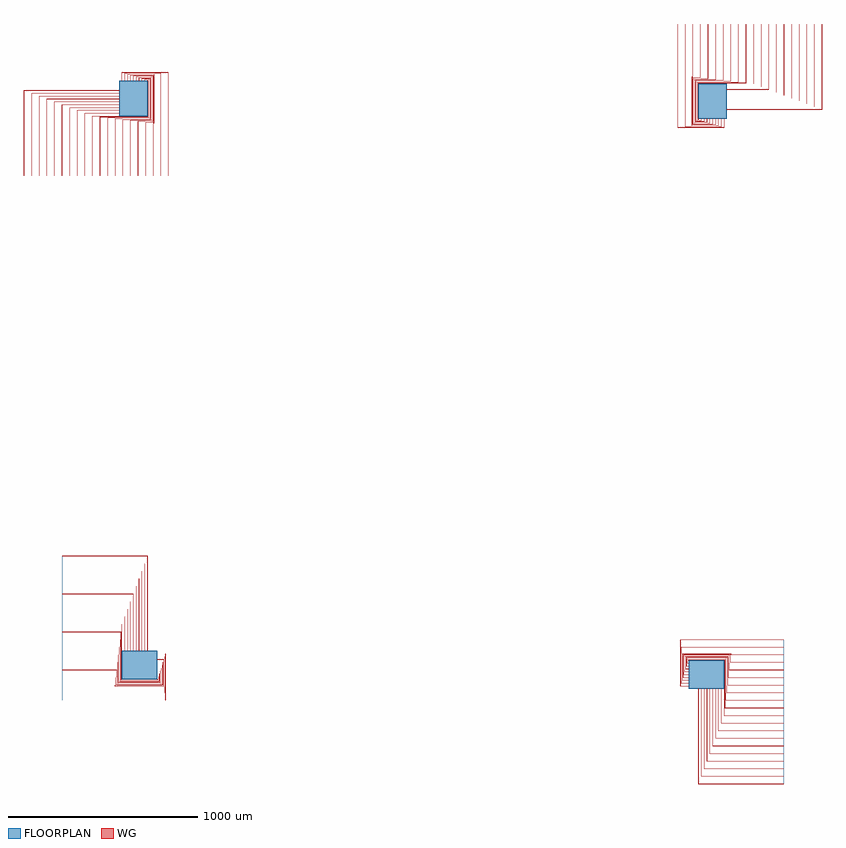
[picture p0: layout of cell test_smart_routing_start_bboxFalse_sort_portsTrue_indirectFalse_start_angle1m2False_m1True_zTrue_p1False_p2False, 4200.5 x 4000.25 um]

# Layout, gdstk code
import gdstk
lib = gdstk.Library(unit=1e-6, precision=1e-09)
def R(c, l, rs):  # rectangles x0, y0, x1, y1
    for r in rs: c.add(gdstk.rectangle(r[:2], r[2:], *l))
def P(c, l, *ps):  # polygons
    for p in ps: c.add(gdstk.Polygon(p, *l))
WG = (1, 0)
FLOORPLAN = (10, 0)

test_smart_routing_start = lib.new_cell('test_smart_routing_start_bboxFalse_sort_portsTrue_indirectFalse_start_angle1m2False_m1True_zTrue_p1False_p2False')
P(test_smart_routing_start, WG, [(-600.25,2600),(-600.25,3050.25),(-100,3050.25),(-100,3049.75),(-599.75,3049.75),(-599.75,2600)],
  [(-560.25,2600),(-560.25,3035.25),(-100,3035.25),(-100,3034.75),(-559.75,3034.75),(-559.75,2600)],
  [(-520.25,2600),(-520.25,3020.25),(-100,3020.25),(-100,3019.75),(-519.75,3019.75),(-519.75,2600)],
  [(-480.25,2600),(-480.25,3005.25),(-100,3005.25),(-100,3004.75),(-479.75,3004.75),(-479.75,2600)],
  [(-440.25,2600),(-440.25,2990.25),(-100,2990.25),(-100,2989.75),(-439.75,2989.75),(-439.75,2600)],
  [(-400.25,2600),(-400.25,2975.25),(-100,2975.25),(-100,2974.75),(-399.75,2974.75),(-399.75,2600)],
  [(-360.25,2600),(-360.25,2960.25),(-100,2960.25),(-100,2959.75),(-359.75,2959.75),(-359.75,2600)],
  [(-320.25,2600),(-320.25,2945.25),(-100,2945.25),(-100,2944.75),(-319.75,2944.75),(-319.75,2600)],
  [(-280.25,2600),(-280.25,2930.25),(-100,2930.25),(-100,2929.75),(-279.75,2929.75),(-279.75,2600)],
  [(-240.25,2600),(-240.25,2915.25),(-100,2915.25),(-100,2914.75),(-239.75,2914.75),(-239.75,2600)],
  [(-200.25,2600),(-200.25,2910.75),(54.25,2910.75),(54.25,3104),(50.25,3104),(50.25,3100),(49.75,3100),(49.75,3104.5),(54.75,3104.5),(54.75,2910.25),(-199.75,2910.25),(-199.75,2600)],
  [(-160.25,2600),(-160.25,2906.25),(58.75,2906.25),(58.75,3108.5),(35.25,3108.5),(35.25,3100),(34.75,3100),(34.75,3109),(59.25,3109),(59.25,2905.75),(-159.75,2905.75),(-159.75,2600)],
  [(-120.25,2600),(-120.25,2901.75),(63.25,2901.75),(63.25,3113),(20.25,3113),(20.25,3100),(19.75,3100),(19.75,3113.5),(63.75,3113.5),(63.75,2901.25),(-119.75,2901.25),(-119.75,2600)],
  [(-80.25,2600),(-80.25,2897.25),(67.75,2897.25),(67.75,3117.5),(5.25,3117.5),(5.25,3100),(4.75,3100),(4.75,3118),(68.25,3118),(68.25,2896.75),(-79.75,2896.75),(-79.75,2600)],
  [(-40.25,2600),(-40.25,2892.75),(72.25,2892.75),(72.25,3122),(-9.75,3122),(-9.75,3100),(-10.25,3100),(-10.25,3122.5),(72.75,3122.5),(72.75,2892.25),(-39.75,2892.25),(-39.75,2600)],
  [(-0.25,2600),(-0.25,2888.25),(76.75,2888.25),(76.75,3126.5),(-24.75,3126.5),(-24.75,3100),(-25.25,3100),(-25.25,3127),(77.25,3127),(77.25,2887.75),(0.25,2887.75),(0.25,2600)],
  [(39.75,2600),(39.75,2883.75),(81.25,2883.75),(81.25,3131),(-39.75,3131),(-39.75,3100),(-40.25,3100),(-40.25,3131.5),(81.75,3131.5),(81.75,2883.25),(40.25,2883.25),(40.25,2600)],
  [(79.75,2600),(79.75,2879.25),(85.75,2879.25),(85.75,3135.5),(-54.75,3135.5),(-54.75,3100),(-55.25,3100),(-55.25,3136),(86.25,3136),(86.25,2878.75),(80.25,2878.75),(80.25,2600)],
  [(119.75,2600),(119.75,3140),(-69.75,3140),(-69.75,3100),(-70.25,3100),(-70.25,3140.5),(120.25,3140.5),(120.25,2600)],
  [(159.75,2600),(159.75,3144.5),(-84.75,3144.5),(-84.75,3100),(-85.25,3100),(-85.25,3145),(160.25,3145),(160.25,2600)],
  [(49.75,100),(49.75,599.75),(-400,599.75),(-400,600.25),(50.25,600.25),(50.25,100)],
  [(34.75,100),(34.75,559.75),(-400,559.75),(-400,560.25),(35.25,560.25),(35.25,100)],
  [(19.75,100),(19.75,519.75),(-400,519.75),(-400,520.25),(20.25,520.25),(20.25,100)],
  [(4.75,100),(4.75,479.75),(-400,479.75),(-400,480.25),(5.25,480.25),(5.25,100)],
  [(-10.25,100),(-10.25,439.75),(-400,439.75),(-400,440.25),(-9.75,440.25),(-9.75,100)],
  [(-25.25,100),(-25.25,399.75),(-400,399.75),(-400,400.25),(-24.75,400.25),(-24.75,100)],
  [(-40.25,100),(-40.25,359.75),(-400,359.75),(-400,360.25),(-39.75,360.25),(-39.75,100)],
  [(-55.25,100),(-55.25,319.75),(-400,319.75),(-400,320.25),(-54.75,320.25),(-54.75,100)],
  [(-70.25,100),(-70.25,279.75),(-400,279.75),(-400,280.25),(-69.75,280.25),(-69.75,100)],
  [(-85.25,100),(-85.25,239.75),(-400,239.75),(-400,240.25),(-84.75,240.25),(-84.75,100)],
  [(-89.75,-54.75),(-89.75,199.75),(-400,199.75),(-400,200.25),(-89.25,200.25),(-89.25,-54.25),(104,-54.25),(104,-50.25),(100,-50.25),(100,-49.75),(104.5,-49.75),(104.5,-54.75)],
  [(-94.25,-59.25),(-94.25,159.75),(-400,159.75),(-400,160.25),(-93.75,160.25),(-93.75,-58.75),(108.5,-58.75),(108.5,-35.25),(100,-35.25),(100,-34.75),(109,-34.75),(109,-59.25)],
  [(-98.75,-63.75),(-98.75,119.75),(-400,119.75),(-400,120.25),(-98.25,120.25),(-98.25,-63.25),(113,-63.25),(113,-20.25),(100,-20.25),(100,-19.75),(113.5,-19.75),(113.5,-63.75)],
  [(-103.25,-68.25),(-103.25,79.75),(-400,79.75),(-400,80.25),(-102.75,80.25),(-102.75,-67.75),(117.5,-67.75),(117.5,-5.25),(100,-5.25),(100,-4.75),(118,-4.75),(118,-68.25)],
  [(-107.75,-72.75),(-107.75,39.75),(-400,39.75),(-400,40.25),(-107.25,40.25),(-107.25,-72.25),(122,-72.25),(122,9.75),(100,9.75),(100,10.25),(122.5,10.25),(122.5,-72.75)],
  [(-112.25,-77.25),(-112.25,-0.25),(-400,-0.25),(-400,0.25),(-111.75,0.25),(-111.75,-76.75),(126.5,-76.75),(126.5,24.75),(100,24.75),(100,25.25),(127,25.25),(127,-77.25)],
  [(-116.75,-81.75),(-116.75,-40.25),(-400,-40.25),(-400,-39.75),(-116.25,-39.75),(-116.25,-81.25),(131,-81.25),(131,39.75),(100,39.75),(100,40.25),(131.5,40.25),(131.5,-81.75)],
  [(-121.25,-86.25),(-121.25,-80.25),(-400,-80.25),(-400,-79.75),(-120.75,-79.75),(-120.75,-85.75),(135.5,-85.75),(135.5,54.75),(100,54.75),(100,55.25),(136,55.25),(136,-86.25)],
  [(-400,-120.25),(-400,-119.75),(140,-119.75),(140,69.75),(100,69.75),(100,70.25),(140.5,70.25),(140.5,-120.25)],
  [(-400,-160.25),(-400,-159.75),(144.5,-159.75),(144.5,84.75),(100,84.75),(100,85.25),(145,85.25),(145,-160.25)],
  [(2949.75,-600.25),(2949.75,-100),(2950.25,-100),(2950.25,-599.75),(3400,-599.75),(3400,-600.25)],
  [(2964.75,-560.25),(2964.75,-100),(2965.25,-100),(2965.25,-559.75),(3400,-559.75),(3400,-560.25)],
  [(2979.75,-520.25),(2979.75,-100),(2980.25,-100),(2980.25,-519.75),(3400,-519.75),(3400,-520.25)],
  [(2994.75,-480.25),(2994.75,-100),(2995.25,-100),(2995.25,-479.75),(3400,-479.75),(3400,-480.25)],
  [(3009.75,-440.25),(3009.75,-100),(3010.25,-100),(3010.25,-439.75),(3400,-439.75),(3400,-440.25)],
  [(3024.75,-400.25),(3024.75,-100),(3025.25,-100),(3025.25,-399.75),(3400,-399.75),(3400,-400.25)],
  [(3039.75,-360.25),(3039.75,-100),(3040.25,-100),(3040.25,-359.75),(3400,-359.75),(3400,-360.25)],
  [(3054.75,-320.25),(3054.75,-100),(3055.25,-100),(3055.25,-319.75),(3400,-319.75),(3400,-320.25)],
  [(3069.75,-280.25),(3069.75,-100),(3070.25,-100),(3070.25,-279.75),(3400,-279.75),(3400,-280.25)],
  [(3084.75,-240.25),(3084.75,-100),(3085.25,-100),(3085.25,-239.75),(3400,-239.75),(3400,-240.25)],
  [(3089.25,-200.25),(3089.25,54.25),(2896,54.25),(2896,50.25),(2900,50.25),(2900,49.75),(2895.5,49.75),(2895.5,54.75),(3089.75,54.75),(3089.75,-199.75),(3400,-199.75),(3400,-200.25)],
  [(3093.75,-160.25),(3093.75,58.75),(2891.5,58.75),(2891.5,35.25),(2900,35.25),(2900,34.75),(2891,34.75),(2891,59.25),(3094.25,59.25),(3094.25,-159.75),(3400,-159.75),(3400,-160.25)],
  [(3098.25,-120.25),(3098.25,63.25),(2887,63.25),(2887,20.25),(2900,20.25),(2900,19.75),(2886.5,19.75),(2886.5,63.75),(3098.75,63.75),(3098.75,-119.75),(3400,-119.75),(3400,-120.25)],
  [(3102.75,-80.25),(3102.75,67.75),(2882.5,67.75),(2882.5,5.25),(2900,5.25),(2900,4.75),(2882,4.75),(2882,68.25),(3103.25,68.25),(3103.25,-79.75),(3400,-79.75),(3400,-80.25)],
  [(3107.25,-40.25),(3107.25,72.25),(2878,72.25),(2878,-9.75),(2900,-9.75),(2900,-10.25),(2877.5,-10.25),(2877.5,72.75),(3107.75,72.75),(3107.75,-39.75),(3400,-39.75),(3400,-40.25)],
  [(2873,-25.25),(2873,77.25),(3112.25,77.25),(3112.25,0.25),(3400,0.25),(3400,-0.25),(3111.75,-0.25),(3111.75,76.75),(2873.5,76.75),(2873.5,-24.75),(2900,-24.75),(2900,-25.25)],
  [(2868.5,-40.25),(2868.5,81.75),(3116.75,81.75),(3116.75,40.25),(3400,40.25),(3400,39.75),(3116.25,39.75),(3116.25,81.25),(2869,81.25),(2869,-39.75),(2900,-39.75),(2900,-40.25)],
  [(2864,-55.25),(2864,86.25),(3121.25,86.25),(3121.25,80.25),(3400,80.25),(3400,79.75),(3120.75,79.75),(3120.75,85.75),(2864.5,85.75),(2864.5,-54.75),(2900,-54.75),(2900,-55.25)],
  [(2859.5,-70.25),(2859.5,120.25),(3400,120.25),(3400,119.75),(2860,119.75),(2860,-69.75),(2900,-69.75),(2900,-70.25)],
  [(2855,-85.25),(2855,160.25),(3400,160.25),(3400,159.75),(2855.5,159.75),(2855.5,-84.75),(2900,-84.75),(2900,-85.25)],
  [(3100,2949.75),(3100,2950.25),(3599.75,2950.25),(3599.75,3400),(3600.25,3400),(3600.25,2949.75)],
  [(3100,2964.75),(3100,2965.25),(3559.75,2965.25),(3559.75,3400),(3560.25,3400),(3560.25,2964.75)],
  [(3100,2979.75),(3100,2980.25),(3519.75,2980.25),(3519.75,3400),(3520.25,3400),(3520.25,2979.75)],
  [(3100,2994.75),(3100,2995.25),(3479.75,2995.25),(3479.75,3400),(3480.25,3400),(3480.25,2994.75)],
  [(3100,3009.75),(3100,3010.25),(3439.75,3010.25),(3439.75,3400),(3440.25,3400),(3440.25,3009.75)],
  [(3100,3024.75),(3100,3025.25),(3399.75,3025.25),(3399.75,3400),(3400.25,3400),(3400.25,3024.75)],
  [(3100,3039.75),(3100,3040.25),(3359.75,3040.25),(3359.75,3400),(3360.25,3400),(3360.25,3039.75)],
  [(3100,3054.75),(3100,3055.25),(3319.75,3055.25),(3319.75,3400),(3320.25,3400),(3320.25,3054.75)],
  [(3100,3069.75),(3100,3070.25),(3279.75,3070.25),(3279.75,3400),(3280.25,3400),(3280.25,3069.75)],
  [(3100,3084.75),(3100,3085.25),(3239.75,3085.25),(3239.75,3400),(3240.25,3400),(3240.25,3084.75)],
  [(2945.25,2895.5),(2945.25,3089.75),(3199.75,3089.75),(3199.75,3400),(3200.25,3400),(3200.25,3089.25),(2945.75,3089.25),(2945.75,2896),(2949.75,2896),(2949.75,2900),(2950.25,2900),(2950.25,2895.5)],
  [(2940.75,2891),(2940.75,3094.25),(3159.75,3094.25),(3159.75,3400),(3160.25,3400),(3160.25,3093.75),(2941.25,3093.75),(2941.25,2891.5),(2964.75,2891.5),(2964.75,2900),(2965.25,2900),(2965.25,2891)],
  [(2936.25,2886.5),(2936.25,3098.75),(3119.75,3098.75),(3119.75,3400),(3120.25,3400),(3120.25,3098.25),(2936.75,3098.25),(2936.75,2887),(2979.75,2887),(2979.75,2900),(2980.25,2900),(2980.25,2886.5)],
  [(2931.75,2882),(2931.75,3103.25),(3079.75,3103.25),(3079.75,3400),(3080.25,3400),(3080.25,3102.75),(2932.25,3102.75),(2932.25,2882.5),(2994.75,2882.5),(2994.75,2900),(2995.25,2900),(2995.25,2882)],
  [(2927.25,2877.5),(2927.25,3107.75),(3039.75,3107.75),(3039.75,3400),(3040.25,3400),(3040.25,3107.25),(2927.75,3107.25),(2927.75,2878),(3009.75,2878),(3009.75,2900),(3010.25,2900),(3010.25,2877.5)],
  [(2922.75,2873),(2922.75,3112.25),(2999.75,3112.25),(2999.75,3400),(3000.25,3400),(3000.25,3111.75),(2923.25,3111.75),(2923.25,2873.5),(3024.75,2873.5),(3024.75,2900),(3025.25,2900),(3025.25,2873)],
  [(2918.25,2868.5),(2918.25,3116.75),(2959.75,3116.75),(2959.75,3400),(2960.25,3400),(2960.25,3116.25),(2918.75,3116.25),(2918.75,2869),(3039.75,2869),(3039.75,2900),(3040.25,2900),(3040.25,2868.5)],
  [(2913.75,2864),(2913.75,3121.25),(2919.75,3121.25),(2919.75,3400),(2920.25,3400),(2920.25,3120.75),(2914.25,3120.75),(2914.25,2864.5),(3054.75,2864.5),(3054.75,2900),(3055.25,2900),(3055.25,2864)],
  [(2879.75,2859.5),(2879.75,3400),(2880.25,3400),(2880.25,2860),(3069.75,2860),(3069.75,2900),(3070.25,2900),(3070.25,2859.5)],
  [(2839.75,2855),(2839.75,3400),(2840.25,3400),(2840.25,2855.5),(3084.75,2855.5),(3084.75,2900),(3085.25,2900),(3085.25,2855)])
R(test_smart_routing_start, FLOORPLAN, [(2900,-100,3085,50), (-85,-50,100,100), (2950,2900,3100,3085), (-100,2915,50,3100)])
P(test_smart_routing_start, FLOORPLAN, [(-400,-160),(-400,600),(-400,600),(-400,-160)],
  [(-600,2600),(-600,2600),(160,2600),(160,2600)],
  [(3400,-600),(3400,160),(3400,160),(3400,-600)],
  [(2840,3400),(2840,3400),(3600,3400),(3600,3400)])

lib.write_gds('test_smart_routing_start_bboxFalse_sort_portsTrue_indirectFalse_start_angle1m2False_m1True_zTrue_p1False_p2False.gds')
